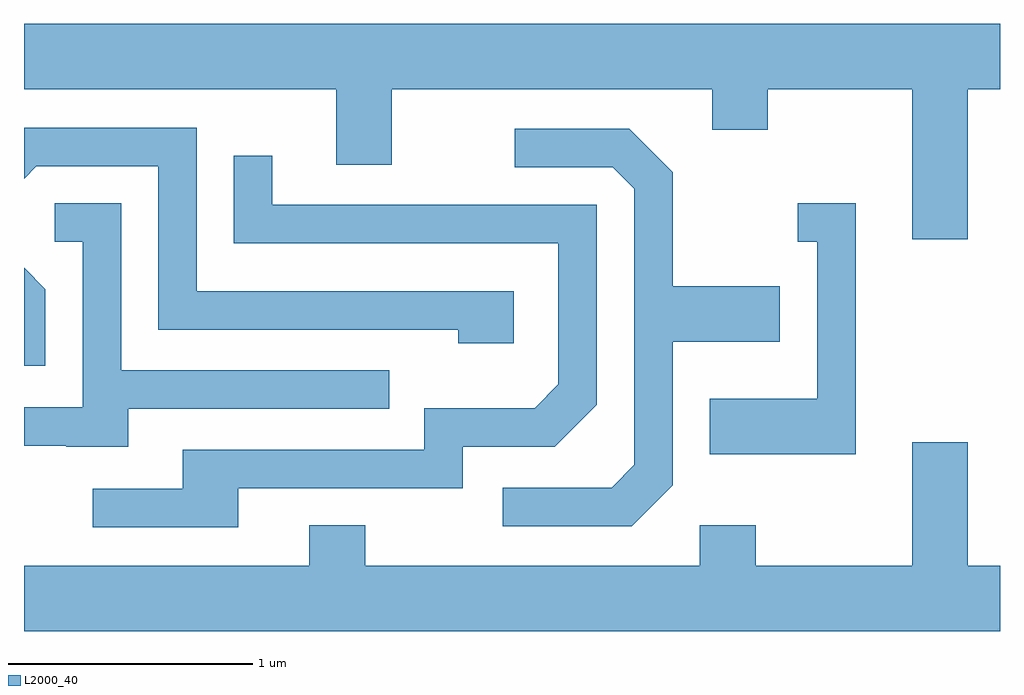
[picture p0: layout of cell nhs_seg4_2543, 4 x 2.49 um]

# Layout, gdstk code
import gdstk
lib = gdstk.Library(unit=1e-6, precision=1e-09)
def P(c, l, *ps):  # polygons
    for p in ps: c.add(gdstk.Polygon(p, *l))
L2000_40 = (2000, 40)

nhs_seg4_2543 = lib.new_cell('nhs_seg4_2543')
P(nhs_seg4_2543, L2000_40, [(263.479,1310.276),(263.611,1310.276),(263.611,1310.544),(259.611,1310.544),(259.611,1310.276),(260.891,1310.276),(260.891,1309.966),(261.119,1309.966),(261.119,1310.276),(262.431,1310.276),(262.431,1310.111),(262.659,1310.111),(262.659,1310.276),(263.251,1310.276),(263.251,1309.661),(263.479,1309.661)],
  [(261.619,1309.449),(260.319,1309.449),(260.319,1310.119),(259.611,1310.119),(259.611,1309.91),(259.662,1309.961),(260.161,1309.961),(260.161,1309.291),(261.391,1309.291),(261.391,1309.236),(261.619,1309.236)],
  [(262.269,1308.654),(262.269,1309.241),(262.709,1309.241),(262.709,1309.469),(262.269,1309.469),(262.269,1309.937),(262.092,1310.114),(261.623,1310.114),(261.623,1309.956),(262.024,1309.956),(262.111,1309.869),(262.111,1308.737),(262.019,1308.644),(261.573,1308.644),(261.573,1308.486),(262.102,1308.486)],
  [(260.489,1308.641),(261.409,1308.641),(261.409,1308.811),(261.787,1308.811),(261.959,1308.984),(261.959,1309.804),(260.629,1309.804),(260.629,1310.003),(260.471,1310.003),(260.471,1309.646),(261.801,1309.646),(261.801,1309.067),(261.704,1308.969),(261.251,1308.969),(261.251,1308.799),(260.261,1308.799),(260.261,1308.639),(259.892,1308.639),(259.892,1308.481),(260.489,1308.481)],
  [(260.039,1308.966),(261.108,1308.966),(261.108,1309.124),(260.009,1309.124),(260.009,1309.809),(259.738,1309.809),(259.738,1309.651),(259.851,1309.651),(259.851,1308.974),(259.611,1308.974),(259.611,1308.816),(259.785,1308.816),(259.785,1308.811),(260.039,1308.811)],
  [(263.019,1309.809),(262.783,1309.809),(262.783,1309.651),(262.861,1309.651),(262.861,1309.009),(262.421,1309.009),(262.421,1308.781),(263.019,1308.781)],
  [(259.699,1309.457),(259.611,1309.545),(259.611,1309.143),(259.699,1309.143)],
  [(263.611,1308.324),(263.479,1308.324),(263.479,1308.829),(263.251,1308.829),(263.251,1308.324),(262.609,1308.324),(262.609,1308.489),(262.381,1308.489),(262.381,1308.324),(261.009,1308.324),(261.009,1308.489),(260.781,1308.489),(260.781,1308.324),(259.611,1308.324),(259.611,1308.056),(263.611,1308.056)])

lib.write_gds('nhs_seg4_2543.gds')
